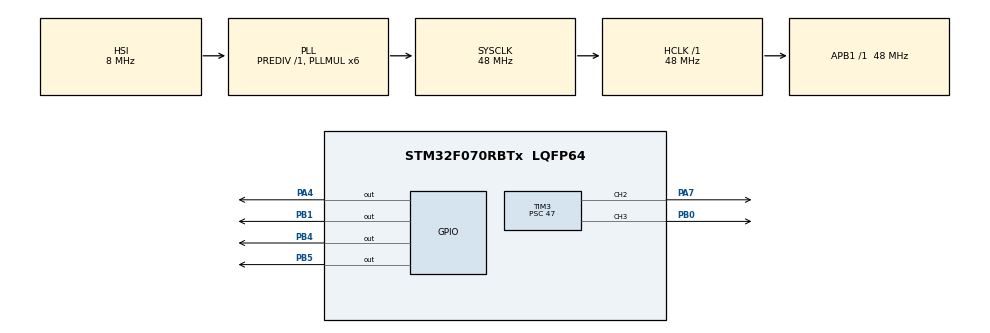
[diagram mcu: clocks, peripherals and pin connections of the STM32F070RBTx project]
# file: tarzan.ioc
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Mcu.Family=STM32F0
Mcu.Name=STM32F070RBTx
Mcu.Package=LQFP64
PA4.Signal=GPIO_Output
PA7.Signal=S_TIM3_CH2
PB0.Signal=S_TIM3_CH3
PB1.Signal=GPIO_Output
PB4.Signal=GPIO_Output
PB5.Signal=GPIO_Output
ProjectManager.HeapSize=0x200
ProjectManager.StackSize=0x400
ProjectManager.TargetToolchain=STM32CubeIDE
RCC.AHBFreq_Value=48000000
RCC.APB1Freq_Value=48000000
RCC.APB1TimFreq_Value=48000000
RCC.HCLKFreq_Value=48000000
RCC.PLLMUL=RCC_PLL_MUL6
RCC.SYSCLKFreq_VALUE=48000000
RCC.SYSCLKSource=RCC_SYSCLKSOURCE_PLLCLK
SH.S_TIM3_CH2.0=TIM3_CH2,PWM Generation2 CH2
SH.S_TIM3_CH3.0=TIM3_CH3,PWM Generation3 CH3
TIM3.Channel-PWM\ Generation2\ CH2=TIM_CHANNEL_2
TIM3.Channel-PWM\ Generation3\ CH3=TIM_CHANNEL_3
TIM3.Prescaler=47
VP_TIM3_VS_ClockSourceINT.Mode=Internal
board=custom

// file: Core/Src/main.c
/* USER CODE BEGIN Header */
/**
  ******************************************************************************
  * @file           : main.c
  * @brief          : Main program body
  ******************************************************************************
  * @attention
  *
  * Copyright (c) 2024 STMicroelectronics.
  * All rights reserved.
  *
  * This software is licensed under terms that can be found in the LICENSE file
  * in the root directory of this software component.
  * If no LICENSE file comes with this software, it is provided AS-IS.
  *
  ******************************************************************************
  */
/* USER CODE END Header */
#include "main.h"

TIM_HandleTypeDef htim3;

void SystemClock_Config(void);
static void MX_GPIO_Init(void);
static void MX_TIM3_Init(void);

int main(void)
{

  /* MCU Configuration--------------------------------------------------------*/

  /* Reset of all peripherals, Initializes the Flash interface and the Systick. */
  HAL_Init();

  /* Configure the system clock */
  SystemClock_Config();

  /* Initialize all configured peripherals */
  MX_GPIO_Init();
  MX_TIM3_Init();
  /* USER CODE BEGIN 2 */
  HAL_TIM_PWM_Start(&htim3, TIM_CHANNEL_3);//PB0 TIM3 TIM6
  HAL_TIM_PWM_Start(&htim3, TIM_CHANNEL_2);//PA7 TIM3 CH2
  /* USER CODE END 2 */

  /* Infinite loop */
  /* USER CODE BEGIN WHILE */
  while (1)
  {
	  	// Set the rotation direction backward
	    HAL_GPIO_WritePin(GPIOB, GPIO_PIN_4, 0);
	    HAL_GPIO_WritePin(GPIOB, GPIO_PIN_5, 1);
	    // Set the speed slow
	    __HAL_TIM_SET_COMPARE(&htim3,TIM_CHANNEL_3, 1000);
	    HAL_Delay(2000);
	    // Set the speed medium
	    __HAL_TIM_SET_COMPARE(&htim3,TIM_CHANNEL_3, 1500);
	    HAL_Delay(2000);
	    // Set the speed high
	    __HAL_TIM_SET_COMPARE(&htim3,TIM_CHANNEL_3, 2000);
	    HAL_Delay(2000);
	    // Stop the motor
	    HAL_GPIO_WritePin(GPIOB, GPIO_PIN_4, 0);
	    HAL_GPIO_WritePin(GPIOB, GPIO_PIN_5, 0);
	    HAL_Delay(2000);
	    // Set the rotation direction forward
	    HAL_GPIO_WritePin(GPIOB, GPIO_PIN_4, 1);
	    HAL_GPIO_WritePin(GPIOB, GPIO_PIN_5, 0);
	    // Set the speed slow
	    __HAL_TIM_SET_COMPARE(&htim3,TIM_CHANNEL_3, 1000);
	    HAL_Delay(2000);
	    // Set the speed medium
	    __HAL_TIM_SET_COMPARE(&htim3,TIM_CHANNEL_3, 1500);
	    HAL_Delay(2000);
	    // Set the speed high
	    __HAL_TIM_SET_COMPARE(&htim3,TIM_CHANNEL_3, 2000);
	    HAL_Delay(2000);
	    // Stop the motor
	    HAL_GPIO_WritePin(GPIOB, GPIO_PIN_4, 0);
	    HAL_GPIO_WritePin(GPIOB, GPIO_PIN_5, 0);
	    HAL_Delay(2000);

	    //FOR ANOTHER MOTOR, code starts from here:
	    // Set the rotation direction backward
	    HAL_GPIO_WritePin(GPIOA, GPIO_PIN_4, 0);
	    HAL_GPIO_WritePin(GPIOB, GPIO_PIN_0, 1);
	    // Set the speed slow
	    __HAL_TIM_SET_COMPARE(&htim3,TIM_CHANNEL_2, 1000);
	    HAL_Delay(2000);
	    // Set the speed medium
	    __HAL_TIM_SET_COMPARE(&htim3,TIM_CHANNEL_2, 1500);
	    HAL_Delay(2000);
	    // Set the speed high
	    __HAL_TIM_SET_COMPARE(&htim3,TIM_CHANNEL_2, 2000);
	    HAL_Delay(2000);
	    // Stop the motor
	    HAL_GPIO_WritePin(GPIOA, GPIO_PIN_4, 0);
	    HAL_GPIO_WritePin(GPIOB, GPIO_PIN_0, 0);
	    HAL_Delay(2000);
	    // Set the rotation direction forward
	    HAL_GPIO_WritePin(GPIOA, GPIO_PIN_4, 1);
	    HAL_GPIO_WritePin(GPIOB, GPIO_PIN_0, 0);
	    // Set the speed slow
	    __HAL_TIM_SET_COMPARE(&htim3,TIM_CHANNEL_2, 1000);
	    HAL_Delay(2000);
	    // Set the speed medium
	    __HAL_TIM_SET_COMPARE(&htim3,TIM_CHANNEL_2, 1500);
	    HAL_Delay(2000);
	    // Set the speed high
	    __HAL_TIM_SET_COMPARE(&htim3,TIM_CHANNEL_2, 2000);
	    HAL_Delay(2000);
	    // Stop the motor
	    HAL_GPIO_WritePin(GPIOA, GPIO_PIN_4, 0);
	    HAL_GPIO_WritePin(GPIOB, GPIO_PIN_0, 0);
	    HAL_Delay(2000);
    /* USER CODE END WHILE */

  }
}

void SystemClock_Config(void)
{
  RCC_OscInitTypeDef RCC_OscInitStruct = {0};
  RCC_ClkInitTypeDef RCC_ClkInitStruct = {0};

  /** Initializes the RCC Oscillators according to the specified parameters
  * in the RCC_OscInitTypeDef structure.
  */
  RCC_OscInitStruct.OscillatorType = RCC_OSCILLATORTYPE_HSI;
  RCC_OscInitStruct.HSIState = RCC_HSI_ON;
  RCC_OscInitStruct.HSICalibrationValue = RCC_HSICALIBRATION_DEFAULT;
  RCC_OscInitStruct.PLL.PLLState = RCC_PLL_ON;
  RCC_OscInitStruct.PLL.PLLSource = RCC_PLLSOURCE_HSI;
  RCC_OscInitStruct.PLL.PLLMUL = RCC_PLL_MUL6;
  RCC_OscInitStruct.PLL.PREDIV = RCC_PREDIV_DIV1;
  if (HAL_RCC_OscConfig(&RCC_OscInitStruct) != HAL_OK)
  {
    Error_Handler();
  }

  /** Initializes the CPU, AHB and APB buses clocks
  */
  RCC_ClkInitStruct.ClockType = RCC_CLOCKTYPE_HCLK|RCC_CLOCKTYPE_SYSCLK
                              |RCC_CLOCKTYPE_PCLK1;
  RCC_ClkInitStruct.SYSCLKSource = RCC_SYSCLKSOURCE_PLLCLK;
  RCC_ClkInitStruct.AHBCLKDivider = RCC_SYSCLK_DIV1;
  RCC_ClkInitStruct.APB1CLKDivider = RCC_HCLK_DIV1;

  if (HAL_RCC_ClockConfig(&RCC_ClkInitStruct, FLASH_LATENCY_1) != HAL_OK)
  {
    Error_Handler();
  }
}

static void MX_TIM3_Init(void)
{

  TIM_ClockConfigTypeDef sClockSourceConfig = {0};
  TIM_MasterConfigTypeDef sMasterConfig = {0};
  TIM_OC_InitTypeDef sConfigOC = {0};

  htim3.Instance = TIM3;
  htim3.Init.Prescaler = 47;
  htim3.Init.CounterMode = TIM_COUNTERMODE_UP;
  htim3.Init.Period = 65535;
  htim3.Init.ClockDivision = TIM_CLOCKDIVISION_DIV1;
  htim3.Init.AutoReloadPreload = TIM_AUTORELOAD_PRELOAD_DISABLE;
  if (HAL_TIM_Base_Init(&htim3) != HAL_OK)
  {
    Error_Handler();
  }
  sClockSourceConfig.ClockSource = TIM_CLOCKSOURCE_INTERNAL;
  if (HAL_TIM_ConfigClockSource(&htim3, &sClockSourceConfig) != HAL_OK)
  {
    Error_Handler();
  }
  if (HAL_TIM_PWM_Init(&htim3) != HAL_OK)
  {
    Error_Handler();
  }
  sMasterConfig.MasterOutputTrigger = TIM_TRGO_RESET;
  sMasterConfig.MasterSlaveMode = TIM_MASTERSLAVEMODE_DISABLE;
  if (HAL_TIMEx_MasterConfigSynchronization(&htim3, &sMasterConfig) != HAL_OK)
  {
    Error_Handler();
  }
  sConfigOC.OCMode = TIM_OCMODE_PWM1;
  sConfigOC.Pulse = 0;
  sConfigOC.OCPolarity = TIM_OCPOLARITY_HIGH;
  sConfigOC.OCFastMode = TIM_OCFAST_DISABLE;
  if (HAL_TIM_PWM_ConfigChannel(&htim3, &sConfigOC, TIM_CHANNEL_2) != HAL_OK)
  {
    Error_Handler();
  }
  if (HAL_TIM_PWM_ConfigChannel(&htim3, &sConfigOC, TIM_CHANNEL_3) != HAL_OK)
  {
    Error_Handler();
  }
  HAL_TIM_MspPostInit(&htim3);

}

static void MX_GPIO_Init(void)
{
  GPIO_InitTypeDef GPIO_InitStruct = {0};

  /* GPIO Ports Clock Enable */
  __HAL_RCC_GPIOA_CLK_ENABLE();
  __HAL_RCC_GPIOB_CLK_ENABLE();

  /*Configure GPIO pin Output Level */
  HAL_GPIO_WritePin(GPIOA, GPIO_PIN_4, GPIO_PIN_RESET);

  /*Configure GPIO pin Output Level */
  HAL_GPIO_WritePin(GPIOB, GPIO_PIN_1|GPIO_PIN_4|GPIO_PIN_5, GPIO_PIN_RESET);

  /*Configure GPIO pin : PA4 */
  GPIO_InitStruct.Pin = GPIO_PIN_4;
  GPIO_InitStruct.Mode = GPIO_MODE_OUTPUT_PP;
  GPIO_InitStruct.Pull = GPIO_NOPULL;
  GPIO_InitStruct.Speed = GPIO_SPEED_FREQ_LOW;
  HAL_GPIO_Init(GPIOA, &GPIO_InitStruct);

  /*Configure GPIO pins : PB1 PB4 PB5 */
  GPIO_InitStruct.Pin = GPIO_PIN_1|GPIO_PIN_4|GPIO_PIN_5;
  GPIO_InitStruct.Mode = GPIO_MODE_OUTPUT_PP;
  GPIO_InitStruct.Pull = GPIO_NOPULL;
  GPIO_InitStruct.Speed = GPIO_SPEED_FREQ_LOW;
  HAL_GPIO_Init(GPIOB, &GPIO_InitStruct);

}

void Error_Handler(void)
{
  __disable_irq();
  while (1)
  {
  }
}
